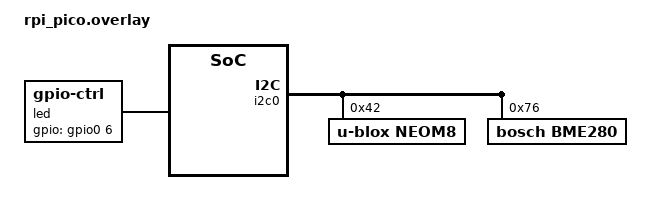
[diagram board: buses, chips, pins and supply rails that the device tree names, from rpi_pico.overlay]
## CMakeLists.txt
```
cmake_minimum_required(VERSION 3.20.0)
set(CMAKE_CXX_STANDARD 17)
set(BOARD rpi_pico)

#drivers
include_directories(include)
list(APPEND ZEPHYR_EXTRA_MODULES ${CMAKE_CURRENT_SOURCE_DIR}/drivers)

find_package(Zephyr REQUIRED HINTS $ENV{ZEPHYR_BASE})
project(payload)

#target_sources(app PRIVATE src/main.cpp)
include_directories(src)
file(GLOB_RECURSE SRCS src/**.cpp)
# target_sources(app PRIVATE src/main.c)
target_sources(app PRIVATE ${SRCS})
```

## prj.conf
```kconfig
CONFIG_CPLUSPLUS=y
CONFIG_NEWLIB_LIBC=y
CONFIG_LIB_CPLUSPLUS=y
CONFIG_NEWLIB_LIBC_FLOAT_PRINTF=y
CONFIG_SERIAL=y

CONFIG_GPIO=y
CONFIG_SENSOR=y
CONFIG_I2C=y
CONFIG_NEOM8=y
CONFIG_BME280=y
```

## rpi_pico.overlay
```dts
/ {
    led: led {
        compatible = "gpio-ctrl";
        gpios = <&gpio0 6 0x0>;
    };
};
&pinctrl{
	myi2c: myi2c {
		group1 {
			pinmux = <I2C0_SDA_P20>, <I2C0_SCL_P21>;
			input-enable;
			input-schmitt-enable;
		};
	};
};
&i2c0 {
	status = "okay";
	pinctrl-0 = <&myi2c>;
	neom8: neom8@42 {
        status = "okay";
        compatible = "u-blox,neom8";
        label = "NEOM8";
        reg = <0x42>;
    };
	bme280: bme280@76 {
		compatible = "bosch,bme280";
		reg = <0x76>;
	};
};
```

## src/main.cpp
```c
/*
 * Copyright (c) 2023 Libre Solar Technologies GmbH
 *
 * SPDX-License-Identifier: Apache-2.0
 */

#include <stdio.h>

#include <zephyr/devicetree.h>
#include <zephyr/drivers/gpio.h>
#include <zephyr/kernel.h>
#include <zephyr/device.h>
#include <zephyr/drivers/sensor.h>
#include <drivers/gnss/ublox_neo_m8.h>
#include <ctime>
#include <string>

#define NEO_SERIAL DT_NODELABEL(neom8)

    struct utc_time {
        int32_t hour;
        int32_t min;
        int32_t sec;

        [[nodiscard]] std::string to_string() const {
            std::string time {};
            if ((0 <= hour) && (hour <= 9))
            time.append("0");
            time.append(std::to_string(hour));

            time.append(":");

            if ((0 <= min) && (min <= 9))
            time.append("0");
            time.append(std::to_string(min));

            time.append(":");

            if ((0 <= sec) && (sec <= 9))
            time.append("0");
            time.append(std::to_string(sec));

            return time;
        }

        void tick() {
            tm t {};
            t.tm_year   = 70;
            t.tm_mon    = 1;
            t.tm_mday   = 1;
            t.tm_hour   = hour;
            t.tm_min    = min;
            t.tm_sec    = sec + 1;
            auto new_t  = mktime(&t);
            auto new_tm = *localtime(&new_t);
            hour        = new_tm.tm_hour;
            min         = new_tm.tm_min;
            sec         = new_tm.tm_sec;
        }
    };

//BME
static const struct device *get_bme280_device(void)
{
	const struct device* dev = DEVICE_DT_GET_ANY(bosch_bme280);

	if (dev == NULL) {
		/* No such node, or the node does not have status "okay". */
		printk("\nError: no device found.\n");
		return NULL;
	}

	if (!device_is_ready(dev)) {
		printk("\nError: Device \"%s\" is not ready; "
		       "check the driver initialization logs for errors.\n",
		       dev->name);
		return NULL;
	}

	printk("Found device \"%s\", getting sensor data\n", dev->name);
	return dev;
}

//clock-frequency = <I2C_BITRATE_STANDARD>;
int main(void)
{
    //LED
    static const struct gpio_dt_spec led_dev = GPIO_DT_SPEC_GET(DT_NODELABEL(led), gpios);
    gpio_pin_configure_dt(&led_dev, GPIO_OUTPUT_ACTIVE);

	//GPS
	const struct device *gps_dev = DEVICE_DT_GET(NEO_SERIAL);

	if(gps_dev == NULL) {
        printk("\nError: no GPS device found.\n");
        return -1;
    } else {
        if (!device_is_ready(gps_dev)) {
            printk("%s Device not ready", gps_dev->name);
            return -1;
        }
    }
	struct neom8_api* gps_api = (struct neom8_api *) gps_dev->api;

    while(1){
        //LED
        // printk("nel main\n");
        k_msleep(1000);
        gpio_pin_toggle_dt(&led_dev);
        
        //UBLOX
        
		gps_api->send_ubx(gps_dev, 0x01, 0x07, {}, 0); // UBX-NAV-PVT
		int rc = gps_api->fetch_data(gps_dev);
		if (rc) {
			printk("Error %d while reading data", rc);
		}

        struct gpsTime gps_time = gps_api->get_time(gps_dev);
        utc_time time
            = {.hour = gps_time.hour, .min = gps_time.min, .sec = static_cast<int32_t>(gps_time.sec)};
		
		printk("latitude: %d.%04d; longitude: %d.%04d; altitude: %d.%01d; satellites: %d; time: %d:%d:%d\n",
		      gps_api->get_latitude(gps_dev), gps_api->get_longitude(gps_dev), gps_api->get_altitude(gps_dev), gps_api->get_satellites(gps_dev),
			  time.hour, time.min, time.sec); 

        // BME
        const struct device *bme_dev = get_bme280_device();
        if (bme_dev == NULL) {
            return 0;
        }
        struct sensor_value temp, press, humidity;

		sensor_sample_fetch(bme_dev);
		sensor_channel_get(bme_dev, SENSOR_CHAN_AMBIENT_TEMP, &temp);
		sensor_channel_get(bme_dev, SENSOR_CHAN_PRESS, &press);
		sensor_channel_get(bme_dev, SENSOR_CHAN_HUMIDITY, &humidity);

		printk("temp: %d.%06d; press: %d.%06d; humidity: %d.%06d\n",
		      temp.val1, temp.val2, press.val1, press.val2,
		      humidity.val1, humidity.val2); 
    }
	return 0;
}
```
